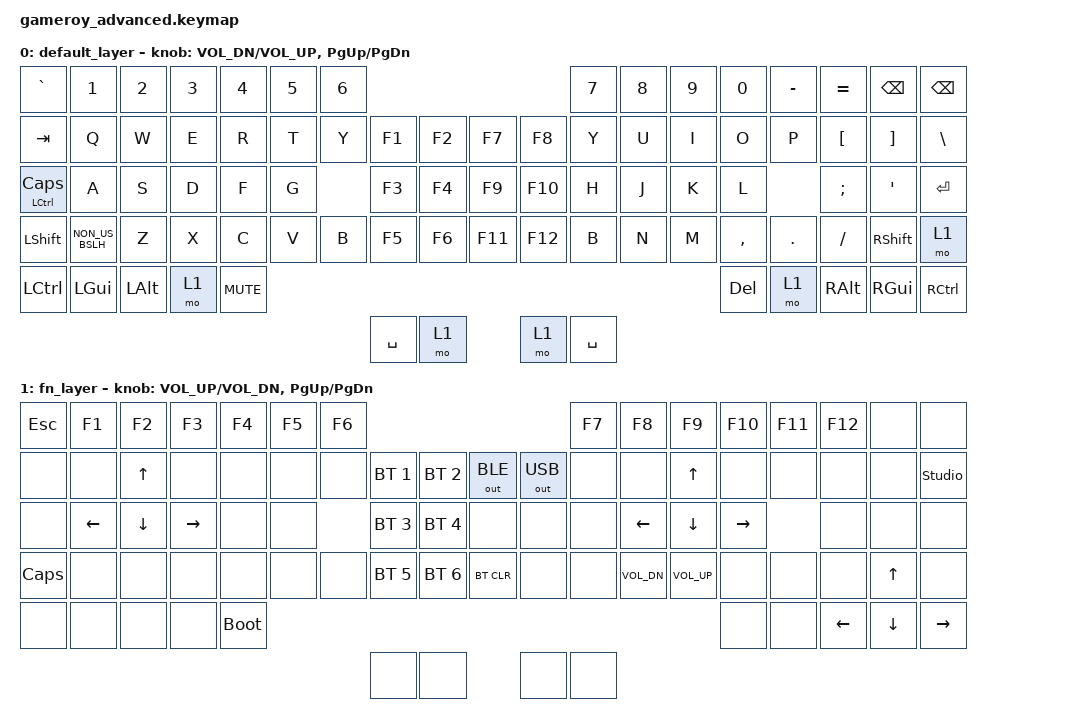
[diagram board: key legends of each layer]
#include <behaviors.dtsi>
#include <dt-bindings/zmk/keys.h>
#include <dt-bindings/zmk/bt.h>
#include <dt-bindings/zmk/outputs.h>

&mt {
    tapping-term-ms = <400>;
};

/ {
    keymap {
        compatible = "zmk,keymap";

        default_layer {
// --------------------------------------------------------------------------------------------------------------------------------------------------------------------
// |   `/~   |    1    |    2    |    3    |    4    |    5    |    6    |                                                                   |    7    |    8    |    9    |    0    |    -    |    =    |   BSPC  |   BSPC  |
// |   TAB   |    Q    |    W    |    E    |    R    |    T    |    Y    |    |   F1    |   F2    |                  |   F7    |   F8   |    |    Y    |    U    |    I    |    O    |    P    |    [    |    ]    |    \    |
// |CAPS/CTRL|    A    |    S    |    D    |    F    |    G    |              |   F3    |   F4    |                  |   F9    |   F10  |    |    H    |    J    |    K    |    L    |   ;     |    '    |   ENTER |
// |  SHIFT  |    \    |    Z    |    X    |    C    |    V    |    B    |    |   F5    |   F6    |                  |   F11   |   F12  |    |    B    |    N    |    M    |    ,    |    .    |    /    |   SHIFT |    FN   |
// |  CTRL   | GUI  |  ALT  |  Fn  |                                          |   MUTE  |                                      | DELETE |                                           | FN |  ALT  |  GUI  |   CTRL  | 
// |                                                                |  SPACE  |   Fn    |                                      |  ENTER |  SPACE  |
// | Left encoder vol up down                                                                                        Right encoder page up down  
            bindings = <
	&kp GRAVE  &kp N1          &kp N2   &kp N3    &kp N4    &kp N5    &kp N6                                                                        &kp N7      &kp N8    &kp N9    &kp N0    &kp MINUS  &kp EQUAL  &kp BSPC &kp BSPC
    &kp TAB   &kp Q      &kp W    &kp E     &kp R     &kp T     &kp Y     &kp F1     &kp F2                      &kp F7    &kp F8       &kp Y       &kp U       &kp I     &kp O     &kp P     &kp LBKT   &kp RBKT   &kp BSLH
    &mt LCTRL CAPS &kp A      &kp S    &kp D     &kp F     &kp G               &kp F3     &kp F4                      &kp F9    &kp F10      &kp H       &kp J     &kp K     &kp L     &kp SEMI   &kp APOS   &kp ENTER
    &kp LSHIFT &kp NON_US_BSLH &kp Z    &kp X     &kp C     &kp V     &kp B     &kp F5     &kp F6                      &kp F11   &kp F12      &kp B       &kp N     &kp M     &kp COMMA &kp DOT    &kp SLASH  &kp RSHIFT &mo 1
    &kp LCTRL  &kp LGUI        &kp LALT &mo 1                                   &kp C_MUTE                                       &kp DEL                                   &mo 1  &kp RALT    &kp RGUI   &kp RCTRL
	                                                                  &kp SPACE &mo 1                                        &mo 1   &kp SPACE       
            >;

            sensor-bindings = <&inc_dec_kp C_VOL_DN C_VOL_UP                                                                        &inc_dec_kp PG_UP PG_DN>;
        };

        fn_layer {
// --------------------------------------------------------------------------------------------------------------------------------------------------------------------
// |  ESC    |   F1    |   F2    |   F3    |   F4    |   F5    |   F6    |                                                                   |   F7    |   F8    |   F9    |   F10   |   F11   |   F12   |         |       |
// |         |         |   UP    |         |         |         |         |    |  BT1    |  BT2    |                  |   BT    |  USB   |    |         |         |         |         |         |         |         |  Studio_unlk |
// |         |  LEFT   |  DOWN   |  RIGHT  |         |         |              |  BT3    |  BT4    |                  |         |        |    |         |         |         |         |         |         |         |
// |         |         |         |         |         |         |         |    |  BT5    |  BT6    |                  |BT CLEAR |        |    |         | Vol Down| Vol up  |         |         |Ply/Pause|    UP     |       |
// |         |      |       |       |                                         |  RESET  |                                      |        |                                           |      |    LEFT   |   DOWN  |   RIGHT   | 
// |                                                                |         |         |                                      |        |         |
// | Left encoder vol up down                                                                              Right encoder page up down  
            bindings = <
	&kp ESC     &kp F1         &kp F2    &kp F3    &kp F4   &kp F5   &kp F6                                                                  &kp F7      &kp F8    &kp F9    &kp F10    &kp F11   &kp F12    &none &none
    &none       &none          &kp UP    &none     &none    &none    &none      &bt BT_SEL 1 &bt BT_SEL 2         &out OUT_BLE   &out OUT_USB    &none      &none       &kp UP   &none     &none      &none     &none  &studio_unlock
    &none       &kp LEFT       &kp DOWN  &kp RIGHT &none    &none               &bt BT_SEL 3 &bt BT_SEL 4         &none          &none           &none      &kp LEFT    &kp DOWN   &kp RIGHT     &none      &none     &none
    &kp CAPS    &none          &none     &none     &none    &none    &none      &bt BT_SEL 5 &bt BT_SEL 6         &bt BT_CLR     &none     &none      &kp C_VOL_DN &kp C_VOL_UP  &none     &none      &none   &kp UP &none
    &none       &none          &none     &none                                  &bootloader                                            &none                                                  &none  &kp LEFT   &kp DOWN   &kp RIGHT
	                                                                            &none  &none                                            &none   &none       
            >;

            sensor-bindings = <&inc_dec_kp C_VOL_UP C_VOL_DN                                                                        &inc_dec_kp PG_UP PG_DN>;
        };
    };
};
